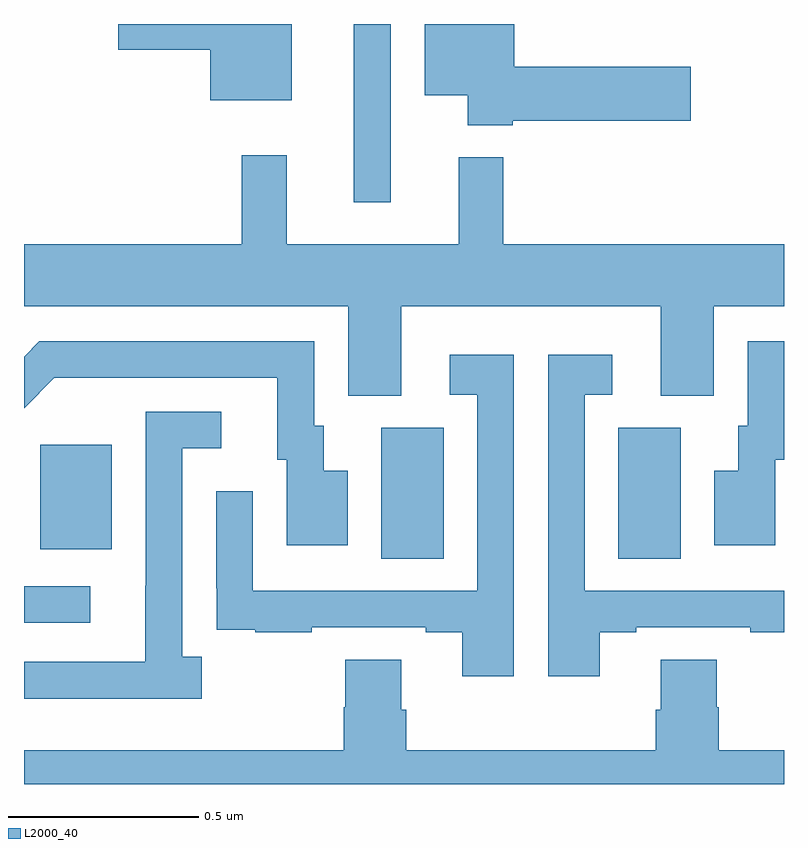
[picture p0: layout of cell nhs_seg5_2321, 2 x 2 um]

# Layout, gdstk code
import gdstk
lib = gdstk.Library(unit=1e-6, precision=1e-09)
def R(c, l, rs):  # rectangles x0, y0, x1, y1
    for r in rs: c.add(gdstk.rectangle(r[:2], r[2:], *l))
def P(c, l, *ps):  # polygons
    for p in ps: c.add(gdstk.Polygon(p, *l))
L2000_40 = (2000, 40)

nhs_seg5_2321 = lib.new_cell('nhs_seg5_2321')
R(nhs_seg5_2321, L2000_40, [(142,893.223,142.174,893.319), (142.94,893.392,143.104,893.736), (143.564,893.392,143.728,893.736), (142.043,893.417,142.231,893.692), (142.868,894.33,142.965,894.799)])
P(nhs_seg5_2321, L2000_40, [(142.705,894.799),(142.248,894.799),(142.248,894.731),(142.49,894.731),(142.49,894.599),(142.705,894.599)],
  [(143.286,894.544),(143.755,894.544),(143.755,894.686),(143.29,894.686),(143.29,894.799),(143.054,894.799),(143.054,894.611),(143.168,894.611),(143.168,894.533),(143.286,894.533)],
  [(142.993,894.056),(143.675,894.056),(143.675,893.821),(143.815,893.821),(143.815,894.056),(144,894.056),(144,894.22),(143.261,894.22),(143.261,894.448),(143.144,894.448),(143.144,894.22),(142.691,894.22),(142.691,894.454),(142.573,894.454),(142.573,894.22),(142,894.22),(142,894.056),(142.853,894.056),(142.853,893.821),(142.993,893.821)],
  [(142.852,893.623),(142.789,893.623),(142.789,893.742),(142.764,893.742),(142.764,893.964),(142.04,893.964),(142,893.924),(142,893.788),(142.08,893.868),(142.667,893.868),(142.667,893.652),(142.691,893.652),(142.691,893.427),(142.852,893.427)],
  [(143.977,893.652),(144,893.652),(144,893.964),(143.904,893.964),(143.904,893.742),(143.879,893.742),(143.879,893.623),(143.816,893.623),(143.816,893.427),(143.977,893.427)],
  [(143.515,893.199),(143.611,893.199),(143.611,893.211),(143.911,893.211),(143.911,893.199),(144,893.199),(144,893.307),(143.475,893.307),(143.475,893.823),(143.548,893.823),(143.548,893.929),(143.379,893.929),(143.379,893.082),(143.515,893.082)],
  [(143.289,893.929),(143.121,893.929),(143.121,893.823),(143.193,893.823),(143.193,893.307),(142.602,893.307),(142.602,893.569),(142.506,893.569),(142.506,893.314),(142.507,893.314),(142.507,893.205),(142.609,893.205),(142.609,893.199),(142.757,893.199),(142.757,893.211),(143.057,893.211),(143.057,893.199),(143.153,893.199),(143.153,893.082),(143.289,893.082)],
  [(142.468,893.134),(142.416,893.134),(142.416,893.682),(142.519,893.682),(142.519,893.778),(142.32,893.778),(142.32,893.321),(142.319,893.321),(142.319,893.121),(142,893.121),(142,893.024),(142.468,893.024)],
  [(144,892.888),(143.828,892.888),(143.828,893.001),(143.823,893.001),(143.823,893.126),(143.675,893.126),(143.675,892.994),(143.663,892.994),(143.663,892.888),(143.006,892.888),(143.006,892.994),(142.993,892.994),(142.993,893.126),(142.846,893.126),(142.846,893.001),(142.841,893.001),(142.841,892.888),(142,892.888),(142,892.799),(144,892.799)])

lib.write_gds('nhs_seg5_2321.gds')
